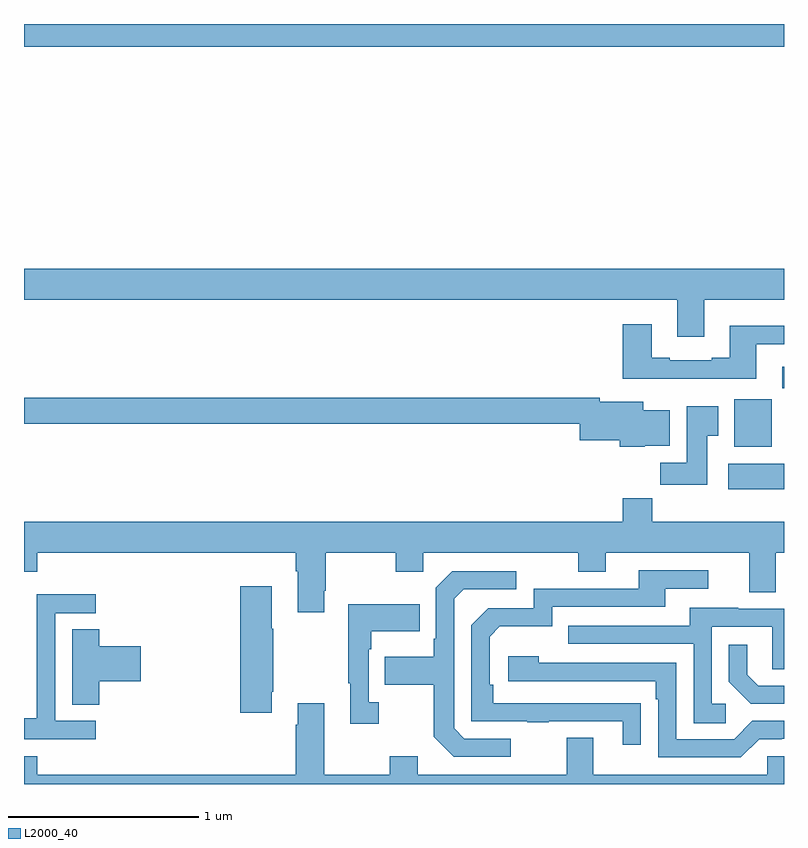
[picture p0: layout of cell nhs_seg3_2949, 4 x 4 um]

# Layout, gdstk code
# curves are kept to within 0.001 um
import gdstk
lib = gdstk.Library(unit=1e-6, precision=1e-09)
def R(c, l, rs):  # rectangles x0, y0, x1, y1
    for r in rs: c.add(gdstk.rectangle(r[:2], r[2:], *l))
def P(c, l, *ps):  # polygons
    for p in ps: c.add(gdstk.Polygon(p, *l))
L2000_40 = (2000, 40)

nhs_seg3_2949 = lib.new_cell('nhs_seg3_2949')
R(nhs_seg3_2949, L2000_40, [(268.707,667.952,269,668.086), (268.739,668.174,268.935,668.425), (268.991,668.483,269,668.596), (265,670.28,269,670.4)])
P(nhs_seg3_2949, L2000_40, [(268.579,668.948),(269,668.948),(269,669.112),(265,669.112),(265,668.948),(268.439,668.948),(268.439,668.754),(268.579,668.754)],
  [(268.855,668.715),(269,668.715),(269,668.812),(268.715,668.812),(268.715,668.644),(268.619,668.644),(268.619,668.631),(268.399,668.631),(268.399,668.644),(268.303,668.644),(268.303,668.821),(268.151,668.821),(268.151,668.534),(268.855,668.534)],
  [(268.266,668.18),(268.399,668.18),(268.399,668.368),(268.258,668.368),(268.258,668.413),(268.03,668.413),(268.03,668.432),(265,668.432),(265,668.296),(267.926,668.296),(267.926,668.21),(268.136,668.21),(268.136,668.174),(268.266,668.174)],
  [(268.597,668.233),(268.654,668.233),(268.654,668.389),(268.487,668.389),(268.487,668.092),(268.348,668.092),(268.348,667.974),(268.597,667.974)],
  [(266.581,667.417),(266.589,667.417),(266.589,667.616),(266.956,667.616),(266.956,667.517),(267.102,667.517),(267.102,667.616),(267.916,667.616),(267.916,667.517),(268.063,667.517),(268.063,667.616),(268.817,667.616),(268.817,667.408),(268.957,667.408),(268.957,667.616),(269,667.616),(269,667.78),(268.307,667.78),(268.307,667.904),(268.151,667.904),(268.151,667.78),(265,667.78),(265,667.517),(265.07,667.517),(265.07,667.616),(266.429,667.616),(266.429,667.52),(266.441,667.52),(266.441,667.305),(266.581,667.305)],
  [(268.247,666.824),(267.47,666.825),(267.47,666.922),(267.45,666.922),(267.45,667.176),(267.503,667.229),(267.78,667.229),(267.78,667.332),(268.375,667.332),(268.375,667.428),(268.6,667.428),(268.6,667.524),(268.235,667.524),(268.235,667.428),(267.684,667.428),(267.684,667.326),(267.444,667.326),(267.354,667.236),(267.354,666.729),(267.649,666.729),(267.649,666.724),(267.761,666.724),(267.761,666.729),(268.151,666.729),(268.151,666.606),(268.247,666.606)],
  [(267.562,666.639),(267.318,666.639),(267.264,666.693),(267.264,667.374),(267.315,667.425),(267.592,667.425),(267.592,667.521),(267.255,667.521),(267.168,667.434),(267.168,667.165),(267.156,667.165),(267.156,667.069),(266.899,667.069),(266.899,666.922),(267.156,666.922),(267.156,666.649),(267.261,666.543),(267.562,666.543)],
  [(266.305,666.886),(266.313,666.886),(266.313,667.217),(266.305,667.217),(266.305,667.441),(266.138,667.441),(266.138,666.774),(266.305,666.774)],
  [(265.378,666.732),(265.164,666.732),(265.164,667.299),(265.378,667.299),(265.378,667.398),(265.068,667.398),(265.068,666.965),(265.066,666.965),(265.066,666.745),(265,666.745),(265,666.636),(265.378,666.636)],
  [(266.866,666.83),(266.814,666.83),(266.814,667.109),(266.827,667.109),(266.827,667.205),(267.083,667.205),(267.083,667.345),(266.706,667.345),(266.706,666.929),(266.717,666.929),(266.717,666.717),(266.866,666.717)],
  [(268.693,666.822),(268.62,666.822),(268.62,667.227),(268.938,667.227),(268.938,667.003),(269,667.003),(269,667.323),(268.759,667.323),(268.759,667.327),(268.505,667.327),(268.505,667.233),(267.865,667.233),(267.865,667.137),(268.524,667.137),(268.524,666.721),(268.693,666.721)],
  [(265.397,666.941),(265.615,666.941),(265.615,667.124),(265.397,667.124),(265.397,667.214),(265.253,667.214),(265.253,666.817),(265.397,666.817)],
  [(269,666.918),(268.864,666.918),(268.807,666.975),(268.807,667.132),(268.71,667.132),(268.71,666.938),(268.826,666.822),(269,666.822)],
  [(268.869,666.636),(268.988,666.636),(268.988,666.639),(269,666.639),(269,666.732),(268.833,666.732),(268.737,666.636),(268.434,666.636),(268.434,667.038),(267.71,667.038),(267.71,667.072),(267.549,667.072),(267.549,666.942),(268.325,666.942),(268.325,666.845),(268.338,666.845),(268.338,666.54),(268.773,666.54)],
  [(269,666.546),(268.911,666.546),(268.911,666.448),(267.997,666.448),(267.997,666.643),(267.857,666.643),(267.857,666.448),(267.073,666.448),(267.073,666.547),(266.926,666.547),(266.926,666.448),(266.581,666.448),(266.581,666.826),(266.441,666.826),(266.441,666.713),(266.429,666.713),(266.429,666.448),(265.07,666.448),(265.07,666.547),(265,666.547),(265,666.4),(269,666.4)])

lib.write_gds('nhs_seg3_2949.gds')
